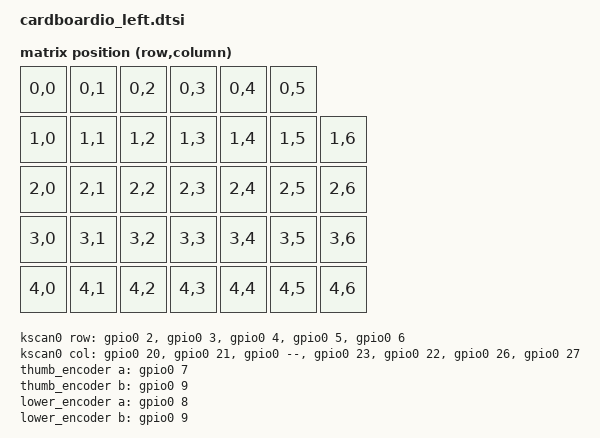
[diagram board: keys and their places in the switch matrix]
/*
 * Copyright (c) 2020 The ZMK Contributors
 *
 * SPDX-License-Identifier: MIT
 */

#include <dt-bindings/zmk/matrix_transform.h>

/ {
    chosen {
        zmk,kscan = &kscan0;
        zmk,matrix_transform = &default_transform;
    };

    default_transform: keymap_transform_0 {
        compatible = "zmk,matrix-transform";
        columns = <7>;
        rows = <5>;
        map = <
RC(0,0) RC(0,1) RC(0,2) RC(0,3) RC(0,4) RC(0,5)
RC(1,0) RC(1,1) RC(1,2) RC(1,3) RC(1,4) RC(1,5)         RC(1,6)
RC(2,0) RC(2,1) RC(2,2) RC(2,3) RC(2,4) RC(2,5) RC(2,6)
RC(3,0) RC(3,1) RC(3,2) RC(3,3) RC(3,4) RC(3,5)         RC(3,6)
RC(4,0) RC(4,1) RC(4,2)     RC(4,3)     RC(4,4) RC(4,5) RC(4,6)
        >;
    };

    kscan0: kscan {
        compatible = "zmk,kscan-gpio-matrix";
        label = "KSCAN";

        diode-direction = "row2col";

        row-gpios
            = <&gpio0 2 (GPIO_ACTIVE_HIGH | GPIO_PULL_DOWN)>
            , <&gpio0 3 (GPIO_ACTIVE_HIGH | GPIO_PULL_DOWN)>
            , <&gpio0 4 (GPIO_ACTIVE_HIGH | GPIO_PULL_DOWN)>
            , <&gpio0 5 (GPIO_ACTIVE_HIGH | GPIO_PULL_DOWN)>
            , <&gpio0 6 (GPIO_ACTIVE_HIGH | GPIO_PULL_DOWN)>
            ;

        col-gpios
            = <&gpio0 20 (GPIO_ACTIVE_HIGH | GPIO_PULL_DOWN)>
            , <&gpio0 21 (GPIO_ACTIVE_HIGH | GPIO_PULL_DOWN)>
            , <&gpio0 -- (GPIO_ACTIVE_HIGH | GPIO_PULL_DOWN)>
            , <&gpio0 23 (GPIO_ACTIVE_HIGH | GPIO_PULL_DOWN)>
            , <&gpio0 22 (GPIO_ACTIVE_HIGH | GPIO_PULL_DOWN)>
            , <&gpio0 26 (GPIO_ACTIVE_HIGH | GPIO_PULL_DOWN)>
            , <&gpio0 27 (GPIO_ACTIVE_HIGH | GPIO_PULL_DOWN)>
            ;
    };

    thumb_encoder: encoder_thumb {
        compatible = "alps,ec11";
        label = "THUMB_ENCODER";
        a-gpios = <&gpio0 7 (GPIO_ACTIVE_HIGH | GPIO_PULL_UP)>;
        b-gpios = <&gpio0 9 (GPIO_ACTIVE_HIGH | GPIO_PULL_UP)>;
        resolution = <1>;
        status = "disabled";
    };

    lower_encoder: encoder_lower {
        compatible = "alps,ec11";
        label = "LOWER_ENCODER";
        a-gpios = <&gpio0 8 (GPIO_ACTIVE_HIGH | GPIO_PULL_UP)>;
        b-gpios = <&gpio0 9 (GPIO_ACTIVE_HIGH | GPIO_PULL_UP)>;
        resolution = <1>;
        status = "disabled";
    };

    upper_encoder: encoder_upper {
        compatible = "alps,ec11";
        label = "UPPER_ENCODER";
        a-gpios = <&gpio0 7 (GPIO_ACTIVE_HIGH | GPIO_PULL_UP)>;
        b-gpios = <&gpio0 8 (GPIO_ACTIVE_HIGH | GPIO_PULL_UP)>;
        resolution = <1>;
        status = "disabled";
    };

    sensors {
        compatible = "zmk,keymap-sensors";
        sensors = <&thumb_encoder &lower_encoder &upper_encoder>;
    };
};

